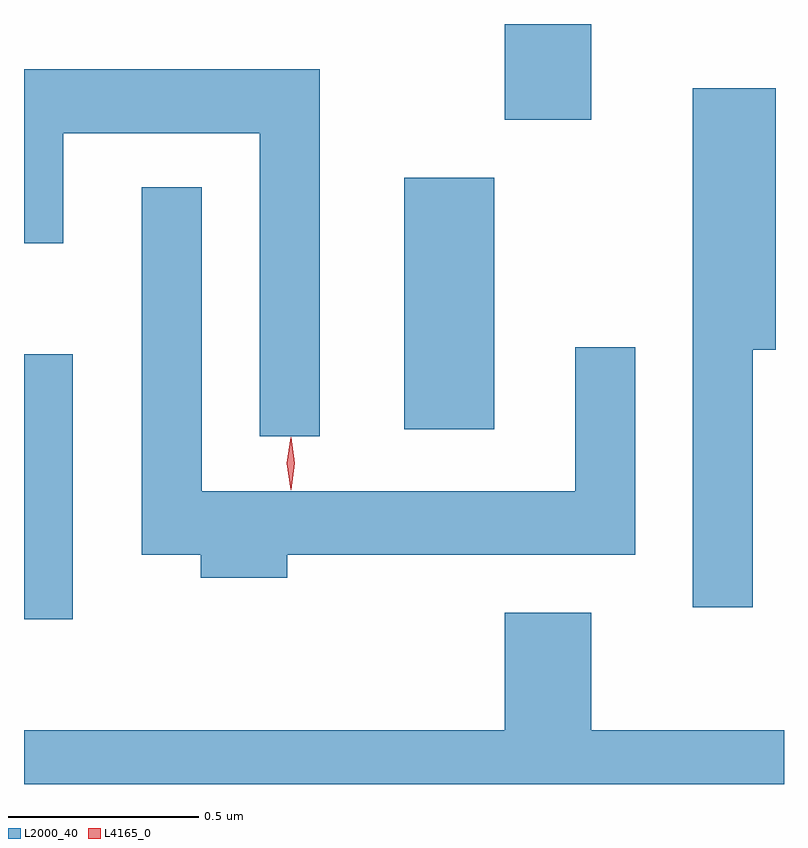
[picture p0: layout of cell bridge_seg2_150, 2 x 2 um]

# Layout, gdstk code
import gdstk
lib = gdstk.Library(unit=1e-6, precision=1e-09)
def R(c, l, rs):  # rectangles x0, y0, x1, y1
    for r in rs: c.add(gdstk.rectangle(r[:2], r[2:], *l))
def P(c, l, *ps):  # polygons
    for p in ps: c.add(gdstk.Polygon(p, *l))
L2000_40 = (2000, 40)
L4165_0 = (4165, 0)

bridge_seg2_150 = lib.new_cell('bridge_seg2_150')
R(bridge_seg2_150, L2000_40, [(1071.176,1104.376,1071.304,1105.074), (1072.176,1104.876,1072.414,1105.539), (1072.441,1105.691,1072.669,1105.943)])
P(bridge_seg2_150, L2000_40, [(1071.954,1105.824),(1071.176,1105.824),(1071.176,1105.366),(1071.279,1105.366),(1071.279,1105.656),(1071.796,1105.656),(1071.796,1104.858),(1071.954,1104.858)],
  [(1073.094,1105.086),(1073.154,1105.086),(1073.154,1105.774),(1072.936,1105.774),(1072.936,1104.408),(1073.094,1104.408)],
  [(1071.869,1104.546),(1072.784,1104.546),(1072.784,1105.093),(1072.626,1105.093),(1072.626,1104.714),(1071.644,1104.714),(1071.644,1105.513),(1071.486,1105.513),(1071.486,1104.546),(1071.641,1104.546),(1071.641,1104.486),(1071.869,1104.486)],
  [(1073.176,1104.084),(1072.669,1104.084),(1072.669,1104.394),(1072.441,1104.394),(1072.441,1104.084),(1071.176,1104.084),(1071.176,1103.943),(1073.176,1103.943)])
P(bridge_seg2_150, L4165_0, [(1071.878,1104.717),(1071.878,1104.717),(1071.868,1104.787),(1071.878,1104.856),(1071.878,1104.856),(1071.879,1104.856),(1071.888,1104.787),(1071.879,1104.717)])

lib.write_gds('bridge_seg2_150.gds')
